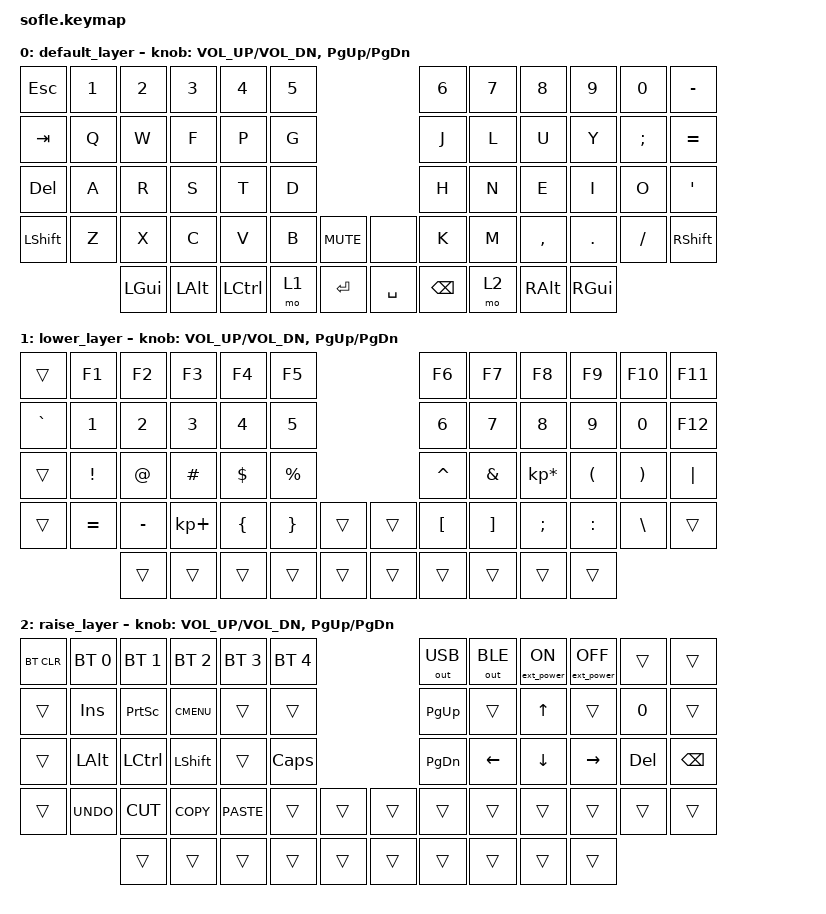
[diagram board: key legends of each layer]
/*
 * Copyright (c) 2020 The ZMK Contributors
 *
 * SPDX-License-Identifier: MIT
 */

#include <behaviors.dtsi>
#include <dt-bindings/zmk/keys.h>
#include <dt-bindings/zmk/bt.h>
#include <dt-bindings/zmk/outputs.h>
#include <dt-bindings/zmk/ext_power.h>

/ {
    keymap {
        compatible = "zmk,keymap";

        default_layer {
// ------------------------------------------------------------------------------------------------------------
// |  ESC  |  1  |  2  |  3   |  4   |  5   |                   |  6   |  7    |  8    |  9   |   0   |   -   |
// |  TAB  |  Q  |  W  |  F   |  P   |  G   |                   |  J   |  L    |  U    |  Y   |   ;   |   +   |
// |  DEL  |  A  |  R  |  S   |  T   |  D   |                   |  H   |  N    |  E    |  I   |   O   |   '   |
// | SHIFT |  Z  |  X  |  C   |  V   |  B   |  MUTE  |  |       |  K   |  M    |  ,    |  .   |   /   | SHIFT |
//               | GUI | ALT  | CTRL | LOWER|  ENTER |  | SPACE | BKSPC| RAISE |  ALT  | GUI  |
            bindings = <
&kp ESC &kp N1 &kp N2   &kp N3   &kp N4    &kp N5                      &kp N6 &kp N7    &kp N8    &kp N9   &kp N0   &kp MINUS
&kp TAB   &kp Q  &kp W    &kp F    &kp P     &kp G                       &kp J  &kp L     &kp U     &kp Y    &kp SEMI    &kp EQUAL
&kp DEL   &kp A  &kp R    &kp S    &kp T     &kp D                       &kp H  &kp N     &kp E     &kp I    &kp O &kp SQT
&kp LSHFT &kp Z  &kp X    &kp C    &kp V     &kp B  &kp C_MUTE &none     &kp K  &kp M     &kp COMMA &kp DOT  &kp FSLH &kp RSHFT
                 &kp LGUI &kp LALT &kp LCTRL &mo 1  &kp RET    &kp SPACE  &kp BSPC  &mo 2  &kp RALT  &kp RGUI
            >;

            sensor-bindings = <&inc_dec_kp C_VOL_UP C_VOL_DN &inc_dec_kp PG_UP PG_DN>;
        };

        lower_layer {
// TODO: Some binds are waiting for shifted keycode support.
// ------------------------------------------------------------------------------------------------------------
// |       |  F1 |  F2 |  F3  |  F4  |  F5  |                   |  F6  |  F7   |  F8   |  F9  |  F10  |  F11  |
// | `     |   1 |   2 |   3  |   4  |   5  |                   |   6  |   7   |   8   |   9  |    0  |  F12  |
// |       |  !  |  @  |  #   |  $   |  %   |                   |  ^   |  &    |  *    |  (   |   )   |   |   |
// |       |  =  |  -  |  +   |  {   |  }   |        |  |       |  [   |  ]    |  ;    |  :   |   \   |       |
//               |     |      |      |      |        |  |       |      |       |       |      |
            bindings = <
&trans    &kp F1    &kp F2    &kp F3      &kp F4    &kp F5                    &kp F6    &kp F7   &kp F8          &kp F9    &kp F10   &kp F11
&kp GRAVE &kp N1    &kp N2    &kp N3      &kp N4    &kp N5                    &kp N6    &kp N7   &kp N8          &kp N9    &kp N0    &kp F12
&trans    &kp EXCL  &kp AT    &kp HASH    &kp DLLR  &kp PRCNT                 &kp CARET &kp AMPS &kp KP_MULTIPLY &kp LPAR  &kp RPAR  &kp PIPE
&trans    &kp EQUAL &kp MINUS &kp KP_PLUS &kp LBRC  &kp RBRC  &trans   &trans &kp LBKT  &kp RBKT &kp SEMI        &kp COLON &kp BSLH  &trans
                    &trans    &trans      &trans    &trans    &trans   &trans &trans    &trans   &trans          &trans
            >;

            sensor-bindings = <&inc_dec_kp C_VOL_UP C_VOL_DN &inc_dec_kp PG_UP PG_DN>;
        };

        raise_layer {
// ------------------------------------------------------------------------------------------------------------
// |BTCLR| BT1  | BT2  |  BT3  |  BT4  |  BT5 |                |  OUTUSB    |  OUTBLE    |   EP OFF    | EP ON     |       |       |
// |     | INS  | PSCR | GUI   |       |      |                | PGUP |      |   ^   |      |       |       |
// |     | ALT  | CTRL | SHIFT |       | CAPS |                | PGDN |   <- |   v   |  ->  |  DEL  | BKSPC |
// |     | UNDO | CUT  | COPY  | PASTE |      |      |  |      |      |      |       |      |       |       |
//              |      |       |       |      |      |  |      |      |      |       |      |
            bindings = <
&bt BT_CLR &bt BT_SEL 0 &bt BT_SEL 1 &bt BT_SEL 2 &bt BT_SEL 3 &bt BT_SEL 4             &out OUT_USB    &out OUT_BLE    &ext_power EP_ON   &ext_power EP_OFF    &trans  &trans
&trans     &kp INS      &kp PSCRN    &kp K_CMENU  &trans       &trans                   &kp PG_UP &trans    &kp UP   &trans    &kp N0  &trans
&trans     &kp LALT     &kp LCTRL    &kp LSHFT    &trans       &kp CLCK                 &kp PG_DN &kp LEFT  &kp DOWN &kp RIGHT &kp DEL &kp BSPC
&trans     &kp K_UNDO   &kp K_CUT    &kp K_COPY   &kp K_PASTE  &trans  &trans   &trans  &trans    &trans    &trans   &trans    &trans  &trans
                        &trans       &trans       &trans       &trans  &trans   &trans  &trans    &trans    &trans   &trans
            >;

            sensor-bindings = <&inc_dec_kp C_VOL_UP C_VOL_DN &inc_dec_kp PG_UP PG_DN>;
        };
    };
};
